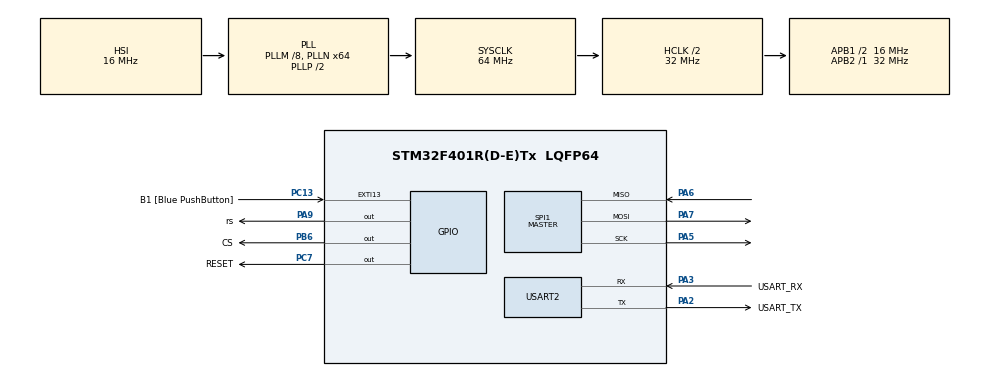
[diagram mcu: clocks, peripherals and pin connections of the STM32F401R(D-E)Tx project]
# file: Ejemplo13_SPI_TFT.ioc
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Mcu.Family=STM32F4
Mcu.Name=STM32F401R(D-E)Tx
Mcu.Package=LQFP64
NVIC.PriorityGroup=NVIC_PRIORITYGROUP_0
PA13.GPIO_Label=TMS
PA13.Mode=Serial_Wire
PA13.Signal=SYS_JTMS-SWDIO
PA14.GPIO_Label=TCK
PA14.Mode=Serial_Wire
PA14.Signal=SYS_JTCK-SWCLK
PA2.GPIO_Label=USART_TX
PA2.GPIO_Mode=GPIO_MODE_AF_PP
PA2.GPIO_PuPd=GPIO_NOPULL
PA2.GPIO_Speed=GPIO_SPEED_FREQ_LOW
PA2.Mode=Asynchronous
PA2.Signal=USART2_TX
PA3.GPIO_Label=USART_RX
PA3.GPIO_Mode=GPIO_MODE_AF_PP
PA3.GPIO_PuPd=GPIO_NOPULL
PA3.GPIO_Speed=GPIO_SPEED_FREQ_LOW
PA3.Mode=Asynchronous
PA3.Signal=USART2_RX
PA5.Mode=Full_Duplex_Master
PA5.Signal=SPI1_SCK
PA6.Mode=Full_Duplex_Master
PA6.Signal=SPI1_MISO
PA7.Mode=Full_Duplex_Master
PA7.Signal=SPI1_MOSI
PA9.GPIO_Label=rs
PA9.Signal=GPIO_Output
PB3.GPIO_Label=SWO
PB3.Signal=SYS_JTDO-SWO
PB6.GPIO_Label=CS
PB6.Signal=GPIO_Output
PC13-ANTI_TAMP.GPIO_Label=B1 [Blue PushButton]
PC13-ANTI_TAMP.GPIO_ModeDefaultEXTI=GPIO_MODE_IT_FALLING
PC13-ANTI_TAMP.GPIO_PuPd=GPIO_NOPULL
PC13-ANTI_TAMP.Signal=GPXTI13
PC14-OSC32_IN.Mode=LSE-External-Oscillator
PC14-OSC32_IN.Signal=RCC_OSC32_IN
PC15-OSC32_OUT.Mode=LSE-External-Oscillator
PC15-OSC32_OUT.Signal=RCC_OSC32_OUT
PC7.GPIO_Label=RESET
PC7.Signal=GPIO_Output
PH0\ -\ OSC_IN.Mode=HSE-External-Clock-Source
PH0\ -\ OSC_IN.Signal=RCC_OSC_IN
PH1\ -\ OSC_OUT.Mode=HSE-External-Clock-Source
PH1\ -\ OSC_OUT.Signal=RCC_OSC_OUT
ProjectManager.HeapSize=0x200
ProjectManager.StackSize=0x400
ProjectManager.TargetToolchain=STM32CubeIDE
RCC.48MHZClocksFreq_Value=18285714.285714287
RCC.AHBCLKDivider=RCC_SYSCLK_DIV2
RCC.AHBFreq_Value=32000000
RCC.APB1CLKDivider=RCC_HCLK_DIV2
RCC.APB1Freq_Value=16000000
RCC.APB1TimFreq_Value=32000000
RCC.APB2Freq_Value=32000000
RCC.APB2TimFreq_Value=32000000
RCC.CortexFreq_Value=32000000
RCC.HCLKFreq_Value=32000000
RCC.HSE_VALUE=8000000
RCC.HSI_VALUE=16000000
RCC.PLLM=8
RCC.PLLN=64
RCC.PLLQ=7
RCC.SYSCLKFreq_VALUE=64000000
RCC.SYSCLKSource=RCC_SYSCLKSOURCE_PLLCLK
RCC.VCOOutputFreq_Value=128000000
SPI1.BaudRatePrescaler=SPI_BAUDRATEPRESCALER_16
SPI1.Direction=SPI_DIRECTION_2LINES
SPI1.Mode=SPI_MODE_MASTER
SPI1.VirtualType=VM_MASTER
USART2.VirtualMode=VM_ASYNC
board=NUCLEO-F401RE

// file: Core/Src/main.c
/* USER CODE BEGIN Header */
/**
  ******************************************************************************
  * @file           : main.c
  * @brief          : Main program body
  ******************************************************************************
  * @attention
  *
  * Copyright (c) 2023 STMicroelectronics.
  * All rights reserved.
  *
  * This software is licensed under terms that can be found in the LICENSE file
  * in the root directory of this software component.
  * If no LICENSE file comes with this software, it is provided AS-IS.
  *
  ******************************************************************************
  */
/* USER CODE END Header */
#include "main.h"

/* USER CODE BEGIN Includes */
#include "ILI9225.h"
#include "stdio.h"
/* USER CODE END Includes */

SPI_HandleTypeDef hspi1;

UART_HandleTypeDef huart2;

void SystemClock_Config(void);
static void MX_GPIO_Init(void);
static void MX_USART2_UART_Init(void);
static void MX_SPI1_Init(void);

/* USER CODE BEGIN 0 */
void drawCircle(int16_t x0, int16_t y0, int16_t r, uint16_t color)
{
    int16_t f = 1 - r;
    int16_t ddF_x = 1;
    int16_t ddF_y = -2 * r;
    int16_t x = 0;
    int16_t y = r;

    draw_pixel(x0  , y0+r, color);
    draw_pixel(x0  , y0-r, color);
    draw_pixel(x0+r, y0  , color);
    draw_pixel(x0-r, y0  , color);

    while (x<y) {
        if (f >= 0) {
            y--;
            ddF_y += 2;
            f += ddF_y;
        }
        x++;
        ddF_x += 2;
        f += ddF_x;

        draw_pixel(x0 + x, y0 + y, color);
        draw_pixel(x0 - x, y0 + y, color);
        draw_pixel(x0 + x, y0 - y, color);
        draw_pixel(x0 - x, y0 - y, color);
        draw_pixel(x0 + y, y0 + x, color);
        draw_pixel(x0 - y, y0 + x, color);
        draw_pixel(x0 + y, y0 - x, color);
        draw_pixel(x0 - y, y0 - x, color);
    }
}
/* USER CODE END 0 */

int main(void)
{

  /* MCU Configuration--------------------------------------------------------*/

  /* Reset of all peripherals, Initializes the Flash interface and the Systick. */
  HAL_Init();

  /* Configure the system clock */
  SystemClock_Config();

  /* Initialize all configured peripherals */
  MX_GPIO_Init();
  MX_USART2_UART_Init();
  MX_SPI1_Init();
  /* USER CODE BEGIN 2 */
  lcd_init();
  fill_rectangle(0, 0, WIDTH, HEIGHT,COLOR_BEIGE);
  fill_rectangle(0, 0, WIDTH, HEIGHT,COLOR_GREEN);
  fill_rectangle(0, 0, WIDTH, HEIGHT,COLOR_RED);
  fill_rectangle(0, 0, WIDTH, HEIGHT,COLOR_BLACK);
  draw_string(20, 50, COLOR_BLUE, 2, "Hola stm32");
  drawCircle(50,100,20,COLOR_BLUE);
  uint8_t i;
  char buff[4];
  /* USER CODE END 2 */

  /* Infinite loop */
  /* USER CODE BEGIN WHILE */
  while (1)
  {
	  for (i = 0; i < 256; ++i) {
		  sprintf(buff,"%03u",i);
		  draw_string(100, 80, COLOR_BLUE,2,buff);
		  HAL_Delay(20);
		  draw_string(100, 80, COLOR_BLACK,2,buff);
	}

    /* USER CODE END WHILE */

  }
}

void SystemClock_Config(void)
{
  RCC_OscInitTypeDef RCC_OscInitStruct = {0};
  RCC_ClkInitTypeDef RCC_ClkInitStruct = {0};

  /** Configure the main internal regulator output voltage
  */
  __HAL_RCC_PWR_CLK_ENABLE();
  __HAL_PWR_VOLTAGESCALING_CONFIG(PWR_REGULATOR_VOLTAGE_SCALE2);

  /** Initializes the RCC Oscillators according to the specified parameters
  * in the RCC_OscInitTypeDef structure.
  */
  RCC_OscInitStruct.OscillatorType = RCC_OSCILLATORTYPE_HSI;
  RCC_OscInitStruct.HSIState = RCC_HSI_ON;
  RCC_OscInitStruct.HSICalibrationValue = RCC_HSICALIBRATION_DEFAULT;
  RCC_OscInitStruct.PLL.PLLState = RCC_PLL_ON;
  RCC_OscInitStruct.PLL.PLLSource = RCC_PLLSOURCE_HSI;
  RCC_OscInitStruct.PLL.PLLM = 8;
  RCC_OscInitStruct.PLL.PLLN = 64;
  RCC_OscInitStruct.PLL.PLLP = RCC_PLLP_DIV2;
  RCC_OscInitStruct.PLL.PLLQ = 7;
  if (HAL_RCC_OscConfig(&RCC_OscInitStruct) != HAL_OK)
  {
    Error_Handler();
  }

  /** Initializes the CPU, AHB and APB buses clocks
  */
  RCC_ClkInitStruct.ClockType = RCC_CLOCKTYPE_HCLK|RCC_CLOCKTYPE_SYSCLK
                              |RCC_CLOCKTYPE_PCLK1|RCC_CLOCKTYPE_PCLK2;
  RCC_ClkInitStruct.SYSCLKSource = RCC_SYSCLKSOURCE_PLLCLK;
  RCC_ClkInitStruct.AHBCLKDivider = RCC_SYSCLK_DIV2;
  RCC_ClkInitStruct.APB1CLKDivider = RCC_HCLK_DIV2;
  RCC_ClkInitStruct.APB2CLKDivider = RCC_HCLK_DIV1;

  if (HAL_RCC_ClockConfig(&RCC_ClkInitStruct, FLASH_LATENCY_1) != HAL_OK)
  {
    Error_Handler();
  }
}

static void MX_SPI1_Init(void)
{

  /* SPI1 parameter configuration*/
  hspi1.Instance = SPI1;
  hspi1.Init.Mode = SPI_MODE_MASTER;
  hspi1.Init.Direction = SPI_DIRECTION_2LINES;
  hspi1.Init.DataSize = SPI_DATASIZE_8BIT;
  hspi1.Init.CLKPolarity = SPI_POLARITY_LOW;
  hspi1.Init.CLKPhase = SPI_PHASE_1EDGE;
  hspi1.Init.NSS = SPI_NSS_SOFT;
  hspi1.Init.BaudRatePrescaler = SPI_BAUDRATEPRESCALER_16;
  hspi1.Init.FirstBit = SPI_FIRSTBIT_MSB;
  hspi1.Init.TIMode = SPI_TIMODE_DISABLE;
  hspi1.Init.CRCCalculation = SPI_CRCCALCULATION_DISABLE;
  hspi1.Init.CRCPolynomial = 10;
  if (HAL_SPI_Init(&hspi1) != HAL_OK)
  {
    Error_Handler();
  }

}

static void MX_USART2_UART_Init(void)
{

  huart2.Instance = USART2;
  huart2.Init.BaudRate = 115200;
  huart2.Init.WordLength = UART_WORDLENGTH_8B;
  huart2.Init.StopBits = UART_STOPBITS_1;
  huart2.Init.Parity = UART_PARITY_NONE;
  huart2.Init.Mode = UART_MODE_TX_RX;
  huart2.Init.HwFlowCtl = UART_HWCONTROL_NONE;
  huart2.Init.OverSampling = UART_OVERSAMPLING_16;
  if (HAL_UART_Init(&huart2) != HAL_OK)
  {
    Error_Handler();
  }

}

static void MX_GPIO_Init(void)
{
  GPIO_InitTypeDef GPIO_InitStruct = {0};

  /* GPIO Ports Clock Enable */
  __HAL_RCC_GPIOC_CLK_ENABLE();
  __HAL_RCC_GPIOH_CLK_ENABLE();
  __HAL_RCC_GPIOA_CLK_ENABLE();
  __HAL_RCC_GPIOB_CLK_ENABLE();

  /*Configure GPIO pin Output Level */
  HAL_GPIO_WritePin(RESET_GPIO_Port, RESET_Pin, GPIO_PIN_RESET);

  /*Configure GPIO pin Output Level */
  HAL_GPIO_WritePin(rs_GPIO_Port, rs_Pin, GPIO_PIN_RESET);

  /*Configure GPIO pin Output Level */
  HAL_GPIO_WritePin(CS_GPIO_Port, CS_Pin, GPIO_PIN_RESET);

  /*Configure GPIO pin : B1_Pin */
  GPIO_InitStruct.Pin = B1_Pin;
  GPIO_InitStruct.Mode = GPIO_MODE_IT_FALLING;
  GPIO_InitStruct.Pull = GPIO_NOPULL;
  HAL_GPIO_Init(B1_GPIO_Port, &GPIO_InitStruct);

  /*Configure GPIO pin : RESET_Pin */
  GPIO_InitStruct.Pin = RESET_Pin;
  GPIO_InitStruct.Mode = GPIO_MODE_OUTPUT_PP;
  GPIO_InitStruct.Pull = GPIO_NOPULL;
  GPIO_InitStruct.Speed = GPIO_SPEED_FREQ_LOW;
  HAL_GPIO_Init(RESET_GPIO_Port, &GPIO_InitStruct);

  /*Configure GPIO pin : rs_Pin */
  GPIO_InitStruct.Pin = rs_Pin;
  GPIO_InitStruct.Mode = GPIO_MODE_OUTPUT_PP;
  GPIO_InitStruct.Pull = GPIO_NOPULL;
  GPIO_InitStruct.Speed = GPIO_SPEED_FREQ_LOW;
  HAL_GPIO_Init(rs_GPIO_Port, &GPIO_InitStruct);

  /*Configure GPIO pin : CS_Pin */
  GPIO_InitStruct.Pin = CS_Pin;
  GPIO_InitStruct.Mode = GPIO_MODE_OUTPUT_PP;
  GPIO_InitStruct.Pull = GPIO_NOPULL;
  GPIO_InitStruct.Speed = GPIO_SPEED_FREQ_LOW;
  HAL_GPIO_Init(CS_GPIO_Port, &GPIO_InitStruct);

}

void Error_Handler(void)
{
  __disable_irq();
  while (1)
  {
  }
}
